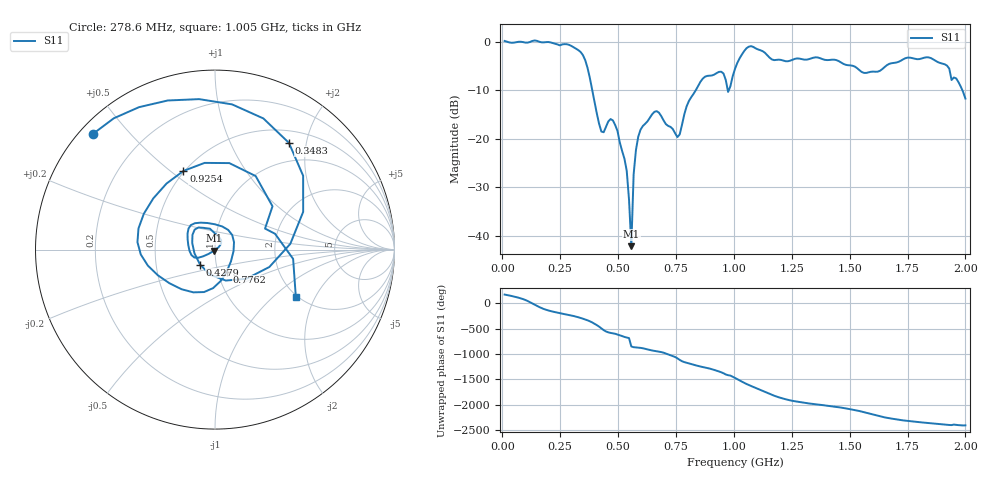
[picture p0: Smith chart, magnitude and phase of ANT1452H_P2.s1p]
!Created with skrf (http://scikit-rf.org).
# Hz S RI R 50.0
!freq ReS11 ImS11
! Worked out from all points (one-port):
!   201 points, 10 MHz to 2 GHz, reference 50 ohm
!   lowest |S11| = -42.2 dB at 557.2 MHz (marker M1), VSWR 1.02, Z = 49.5 - j0.581 ohm
!   |S11| at or under -10 dB: 388.3 MHz to 836.1 MHz (447.8 MHz wide, 73.1 % of centre); 973.5764 MHz to 978.4525 MHz (4.876 MHz wide, 0.5 % of centre); 1.987 GHz to end of sweep
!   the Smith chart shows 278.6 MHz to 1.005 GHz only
!   S11 on the Smith chart (normalised r, x): 278.6 MHz: 0.04, +0.40; 348.3 MHz: 0.68, +1.70; 427.9 MHz: 0.84, -0.14; 776.1 MHz: 1.10, -0.28; 925.4 MHz: 0.49, +0.56; 1.005 GHz: 1.95, -1.43
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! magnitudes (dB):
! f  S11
! 10 MHz  0.1
! 258.8 MHz  -0.6
! 278.6 MHz  -0.6
! 348.3 MHz  -2.8
! 427.9 MHz  -18.6
! 477.6 MHz  -16.3
! 507.5 MHz  -20.8
! 537.4 MHz  -26.6
! 547.3 MHz  -32.6
! 557.2 MHz  -42.2
! 567.2 MHz  -27.4
! 577.1 MHz  -22.4
! 597 MHz  -18.2
! 666.7 MHz  -14.3
! 756.2 MHz  -19.7
! 776.1 MHz  -17.1
! 855.8 MHz  -8.3
! 925.4 MHz  -6.5
! 955.2 MHz  -6.6
! 975.1 MHz  -10.4
! 1.005 GHz  -5.6
! 1.075 GHz  -1.0
! 1.254 GHz  -3.7
! 1.502 GHz  -4.9
! 1.622 GHz  -6.2
! 1.751 GHz  -3.3
! 1.92 GHz  -5.0
! 2 GHz  -11.8
